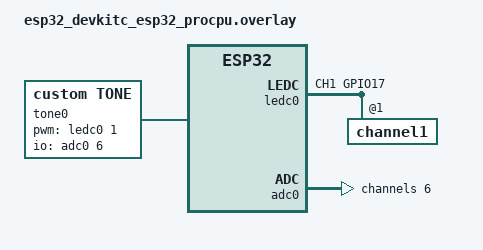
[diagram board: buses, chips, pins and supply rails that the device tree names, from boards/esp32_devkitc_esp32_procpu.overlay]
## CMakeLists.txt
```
cmake_minimum_required(VERSION 3.20.0)

find_package(Zephyr REQUIRED HINTS $ENV{ZEPHYR_BASE})
project(system_three_tone)

target_sources(app PRIVATE src/main.c)

if(CONFIG_CUSTOM_TONE)
    target_sources(app PRIVATE drivers/tone/tone.c)
    target_include_directories(app PRIVATE drivers/tone)
endif()
```

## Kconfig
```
source "Kconfig.zephyr"

rsource "drivers/tone/Kconfig"
```

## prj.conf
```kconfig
CONFIG_PWM=y
CONFIG_ADC=y
CONFIG_CUSTOM_TONE=y
```

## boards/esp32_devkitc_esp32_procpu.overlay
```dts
#include <zephyr/dt-bindings/pwm/pwm.h>
#include <zephyr/dt-bindings/adc/adc.h>

/ {
	tone0: tone_0 {
		compatible = "custom,tone";
		pwms = <&ledc0 1 PWM_HZ(440) PWM_POLARITY_NORMAL>;
		io-channels = <&adc0 6>;
	};
};

&pinctrl {
	ledc0_default: ledc0_default {
		group1 {
			pinmux = <LEDC_CH1_GPIO17>;
			output-enable;
		};
	};
};

&ledc0 {
	pinctrl-0 = <&ledc0_default>;
	pinctrl-names = "default";
	status = "okay";
	#address-cells = <1>;
	#size-cells = <0>;

	channel1@1 {
		reg = <0x1>;
		timer = <1>;
	};
};

&adc0 {
	status = "okay";
	#address-cells = <1>;
	#size-cells = <0>;

	channel@6 {
		reg = <6>;
		zephyr,gain = "ADC_GAIN_1";
		zephyr,reference = "ADC_REF_INTERNAL";
		zephyr,acquisition-time = <ADC_ACQ_TIME_DEFAULT>;
		zephyr,resolution = <12>;
	};
};
```

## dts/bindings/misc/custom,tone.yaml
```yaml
description: |
  Custom tone generator. Plays an audible tone over PWM for a duration
  derived from an ADC voltage reading, matching a design where the tone
  duration can be increased or decreased based on a read voltage.

compatible: "custom,tone"

properties:
  pwms:
    type: phandle-array
    required: true
    description: PWM output driving the buzzer or speaker

  io-channels:
    type: phandle-array
    required: true
    description: ADC channel used to determine tone duration
```

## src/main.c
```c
#include <zephyr/kernel.h>
#include <zephyr/device.h>
#include "../drivers/tone/tone.h"

#define TONE_NODE DT_NODELABEL(tone0)

int main(void)
{
	const struct device *tone = DEVICE_DT_GET(TONE_NODE);

	if (!device_is_ready(tone)) {
		printk("Tone device not ready\n");
		return 0;
	}

	printk("Reading ADC and playing a tone for a scaled duration...\n");

	while (1) {
		tone_play(tone);
		k_msleep(1000);
	}

	return 0;
}
```
